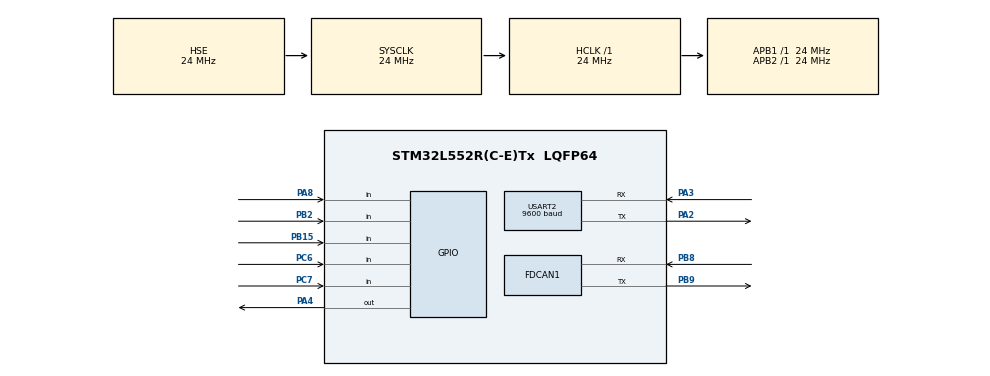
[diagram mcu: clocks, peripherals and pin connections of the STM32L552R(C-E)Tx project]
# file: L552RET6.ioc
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FDCAN1.CalculateBaudRateNominal=1066666
FDCAN1.CalculateTimeBitNominal=937
FDCAN1.CalculateTimeQuantumNominal=62.5
FDCAN1.Mode=FDCAN_MODE_NORMAL
FDCAN1.NominalPrescaler=3
FDCAN1.NominalTimeSeg1=12
FDCAN1.NominalTimeSeg2=2
FDCAN1.StdFiltersNbr=10
Mcu.Family=STM32L5
Mcu.Name=STM32L552R(C-E)Tx
Mcu.Package=LQFP64
NVIC.FDCAN1_IT0_IRQn=true\:0\:0\:false\:true\:true\:1\:true\:true\:true
NVIC.FDCAN1_IT1_IRQn=true\:0\:0\:false\:true\:true\:2\:true\:true\:true
NVIC.PriorityGroup=NVIC_PRIORITYGROUP_3
PA13\ (JTMS/SWDIO).Mode=Serial_Wire
PA13\ (JTMS/SWDIO).Signal=DEBUG_JTMS-SWDIO
PA14\ (JTCK/SWCLK).Mode=Serial_Wire
PA14\ (JTCK/SWCLK).Signal=DEBUG_JTCK-SWCLK
PA2.GPIO_Speed=GPIO_SPEED_FREQ_VERY_HIGH
PA2.Mode=Asynchronous
PA2.Signal=USART2_TX
PA3.GPIO_Speed=GPIO_SPEED_FREQ_VERY_HIGH
PA3.Mode=Asynchronous
PA3.Signal=USART2_RX
PA4.Signal=GPIO_Output
PA8.Signal=GPIO_Input
PB15.Signal=GPIO_Input
PB2.Signal=GPIO_Input
PB8.GPIO_FM8=SYSCFG_FASTMODEPLUS_PB8
PB8.GPIO_Speed=GPIO_SPEED_FREQ_VERY_HIGH
PB8.Mode=FDCAN_Activate
PB8.Signal=FDCAN1_RX
PB9.GPIO_FM9=SYSCFG_FASTMODEPLUS_PB9
PB9.GPIO_Speed=GPIO_SPEED_FREQ_VERY_HIGH
PB9.Mode=FDCAN_Activate
PB9.Signal=FDCAN1_TX
PC14-OSC32_IN\ (PC14).Mode=LSE-External-Oscillator
PC14-OSC32_IN\ (PC14).Signal=RCC_OSC32_IN
PC15-OSC32_OUT\ (PC15).Mode=LSE-External-Oscillator
PC15-OSC32_OUT\ (PC15).Signal=RCC_OSC32_OUT
PC6.Signal=GPIO_Input
PC7.Signal=GPIO_Input
PH0-OSC_IN\ (PH0).Mode=HSE-External-Oscillator
PH0-OSC_IN\ (PH0).Signal=RCC_OSC_IN
PH1-OSC_OUT\ (PH1).Mode=HSE-External-Oscillator
PH1-OSC_OUT\ (PH1).Signal=RCC_OSC_OUT
ProjectManager.HeapSize=0x200
ProjectManager.StackSize=0x400
ProjectManager.TargetToolchain=STM32CubeIDE
RCC.ADCFreq_Value=168000000
RCC.AHBFreq_Value=24000000
RCC.APB1Freq_Value=24000000
RCC.APB1TimFreq_Value=24000000
RCC.APB2Freq_Value=24000000
RCC.APB2TimFreq_Value=24000000
RCC.CortexFreq_Value=24000000
RCC.HCLKFreq_Value=24000000
RCC.HSE_VALUE=24000000
RCC.HSI48_VALUE=48000000
RCC.HSI_VALUE=16000000
RCC.MSI_VALUE=4000000
RCC.PLLM=2
RCC.PLLSAI1N=14
RCC.PLLSAI1Source=RCC_PLLSAI1SOURCE_HSE
RCC.PLLSAI2Source=RCC_PLLSAI2SOURCE_HSE
RCC.PLLSourceVirtual=RCC_PLLSOURCE_HSE
RCC.SYSCLKFreq_VALUE=24000000
RCC.SYSCLKSource=RCC_SYSCLKSOURCE_HSE
RCC.USBFreq_Value=168000000
RCC.VCOOutputFreq_Value=96000000
USART2.BaudRate=9600
USART2.OverSampling=UART_OVERSAMPLING_8
USART2.VirtualMode-Asynchronous=VM_ASYNC
VP_ICACHE_VS_ICACHE.Mode=DirectMappedCache
VP_PWR_VS_DBSignals.Mode=DisableDeadBatterySignals
VP_PWR_VS_SECSignals.Mode=Security/Privilege
board=custom

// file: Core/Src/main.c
/* USER CODE BEGIN Header */
/**
  ******************************************************************************
  * @file           : main.c
  * @brief          : Main program body
  ******************************************************************************
  * @attention
  *
  * Copyright (c) 2025 STMicroelectronics.
  * All rights reserved.
  *
  * This software is licensed under terms that can be found in the LICENSE file
  * in the root directory of this software component.
  * If no LICENSE file comes with this software, it is provided AS-IS.
  *
  ******************************************************************************
  */
/* USER CODE END Header */
#include "main.h"

FDCAN_HandleTypeDef hfdcan1;

UART_HandleTypeDef huart2;

void SystemClock_Config(void);
static void MX_GPIO_Init(void);
static void MX_FDCAN1_Init(void);
static void MX_USART2_UART_Init(void);
static void MX_ICACHE_Init(void);
static void MX_NVIC_Init(void);

/* USER CODE BEGIN 0 */
FDCAN_TxHeaderTypeDef TxHeader;
uint8_t TxData[8] = {0x11, 0x22, 0x33, 0x44, 0x55, 0x66, 0x77, 0x88};
FDCAN_RxHeaderTypeDef RxHeader;
uint8_t RxData[8];
uint8_t Inc = 0;

/* USER CODE END 0 */

int main(void)
{

  /* MCU Configuration--------------------------------------------------------*/

  /* Reset of all peripherals, Initializes the Flash interface and the Systick. */
  HAL_Init();

  /* Configure the system clock */
  SystemClock_Config();

  /* Initialize all configured peripherals */
  MX_GPIO_Init();
  MX_FDCAN1_Init();
  MX_USART2_UART_Init();
  MX_ICACHE_Init();

  /* Initialize interrupts */
  MX_NVIC_Init();
  /* USER CODE BEGIN 2 */
  HAL_UART_Transmit(&huart2, (const uint8_t *)"GABI \n\r", 7, 100);
  HAL_Delay(100);

  if (HAL_FDCAN_Start(&hfdcan1) != HAL_OK)
  {
      Error_Handler();
  }

  TxHeader.Identifier = 0x123;
  TxHeader.IdType = FDCAN_STANDARD_ID;
  TxHeader.TxFrameType = FDCAN_DATA_FRAME;
  TxHeader.DataLength = FDCAN_DLC_BYTES_8;
  TxHeader.ErrorStateIndicator = FDCAN_ESI_ACTIVE;
  TxHeader.BitRateSwitch = FDCAN_BRS_OFF;
  TxHeader.FDFormat = FDCAN_CLASSIC_CAN;
  TxHeader.TxEventFifoControl = FDCAN_NO_TX_EVENTS;
  TxHeader.MessageMarker = 0;

  HAL_FDCAN_ActivateNotification(&hfdcan1, FDCAN_IT_RX_FIFO0_NEW_MESSAGE, 0);

  /* USER CODE END 2 */

  /* Infinite loop */
  while (1)
  {

    /* USER CODE BEGIN 3 */

	  if (HAL_FDCAN_AddMessageToTxFifoQ(&hfdcan1, &TxHeader, TxData) != HAL_OK)
	  {
	      Error_Handler();
	  }
	  TxData[0] = Inc/100 ;
	  TxData[1] = Inc%10 ;
	  Inc+=1;
	  HAL_Delay(100);

  }
  /* USER CODE END 3 */
}

void SystemClock_Config(void)
{
  RCC_OscInitTypeDef RCC_OscInitStruct = {0};
  RCC_ClkInitTypeDef RCC_ClkInitStruct = {0};

  /** Configure the main internal regulator output voltage
  */
  if (HAL_PWREx_ControlVoltageScaling(PWR_REGULATOR_VOLTAGE_SCALE2) != HAL_OK)
  {
    Error_Handler();
  }

  /** Initializes the RCC Oscillators according to the specified parameters
  * in the RCC_OscInitTypeDef structure.
  */
  RCC_OscInitStruct.OscillatorType = RCC_OSCILLATORTYPE_HSE;
  RCC_OscInitStruct.HSEState = RCC_HSE_ON;
  RCC_OscInitStruct.PLL.PLLState = RCC_PLL_ON;
  RCC_OscInitStruct.PLL.PLLSource = RCC_PLLSOURCE_HSE;
  RCC_OscInitStruct.PLL.PLLM = 2;
  RCC_OscInitStruct.PLL.PLLN = 8;
  RCC_OscInitStruct.PLL.PLLP = RCC_PLLP_DIV7;
  RCC_OscInitStruct.PLL.PLLQ = RCC_PLLQ_DIV2;
  RCC_OscInitStruct.PLL.PLLR = RCC_PLLR_DIV2;
  if (HAL_RCC_OscConfig(&RCC_OscInitStruct) != HAL_OK)
  {
    Error_Handler();
  }

  /** Initializes the CPU, AHB and APB buses clocks
  */
  RCC_ClkInitStruct.ClockType = RCC_CLOCKTYPE_HCLK|RCC_CLOCKTYPE_SYSCLK
                              |RCC_CLOCKTYPE_PCLK1|RCC_CLOCKTYPE_PCLK2;
  RCC_ClkInitStruct.SYSCLKSource = RCC_SYSCLKSOURCE_HSE;
  RCC_ClkInitStruct.AHBCLKDivider = RCC_SYSCLK_DIV1;
  RCC_ClkInitStruct.APB1CLKDivider = RCC_HCLK_DIV1;
  RCC_ClkInitStruct.APB2CLKDivider = RCC_HCLK_DIV1;

  if (HAL_RCC_ClockConfig(&RCC_ClkInitStruct, FLASH_LATENCY_2) != HAL_OK)
  {
    Error_Handler();
  }
}

/**
  * @brief NVIC Configuration.
  * @retval None
  */
static void MX_NVIC_Init(void)
{
  /* FDCAN1_IT0_IRQn interrupt configuration */
  HAL_NVIC_SetPriority(FDCAN1_IT0_IRQn, 0, 0);
  HAL_NVIC_EnableIRQ(FDCAN1_IT0_IRQn);
  /* FDCAN1_IT1_IRQn interrupt configuration */
  HAL_NVIC_SetPriority(FDCAN1_IT1_IRQn, 0, 0);
  HAL_NVIC_EnableIRQ(FDCAN1_IT1_IRQn);
}

static void MX_FDCAN1_Init(void)
{

  hfdcan1.Instance = FDCAN1;
  hfdcan1.Init.ClockDivider = FDCAN_CLOCK_DIV1;
  hfdcan1.Init.FrameFormat = FDCAN_FRAME_CLASSIC;
  hfdcan1.Init.Mode = FDCAN_MODE_NORMAL;
  hfdcan1.Init.AutoRetransmission = DISABLE;
  hfdcan1.Init.TransmitPause = DISABLE;
  hfdcan1.Init.ProtocolException = DISABLE;
  hfdcan1.Init.NominalPrescaler = 3;
  hfdcan1.Init.NominalSyncJumpWidth = 1;
  hfdcan1.Init.NominalTimeSeg1 = 12;
  hfdcan1.Init.NominalTimeSeg2 = 2;
  hfdcan1.Init.DataPrescaler = 1;
  hfdcan1.Init.DataSyncJumpWidth = 1;
  hfdcan1.Init.DataTimeSeg1 = 1;
  hfdcan1.Init.DataTimeSeg2 = 1;
  hfdcan1.Init.StdFiltersNbr = 10;
  hfdcan1.Init.ExtFiltersNbr = 0;
  hfdcan1.Init.TxFifoQueueMode = FDCAN_TX_FIFO_OPERATION;
  if (HAL_FDCAN_Init(&hfdcan1) != HAL_OK)
  {
    Error_Handler();
  }
  /* USER CODE BEGIN FDCAN1_Init 2 */
  FDCAN_FilterTypeDef sFilterConfig;
  sFilterConfig.IdType = FDCAN_STANDARD_ID;
  sFilterConfig.FilterIndex = 0;
  sFilterConfig.FilterType = FDCAN_FILTER_MASK;
  sFilterConfig.FilterConfig = FDCAN_FILTER_TO_RXFIFO0;
  sFilterConfig.FilterID1 = 0x00000000;
  sFilterConfig.FilterID2 = 0x00000000; // Accept all
  HAL_FDCAN_ConfigFilter(&hfdcan1, &sFilterConfig);

  /* USER CODE END FDCAN1_Init 2 */

}

static void MX_ICACHE_Init(void)
{

  /** Enable instruction cache in 1-way (direct mapped cache)
  */
  if (HAL_ICACHE_ConfigAssociativityMode(ICACHE_1WAY) != HAL_OK)
  {
    Error_Handler();
  }
  if (HAL_ICACHE_Enable() != HAL_OK)
  {
    Error_Handler();
  }

}

static void MX_USART2_UART_Init(void)
{

  huart2.Instance = USART2;
  huart2.Init.BaudRate = 9600;
  huart2.Init.WordLength = UART_WORDLENGTH_8B;
  huart2.Init.StopBits = UART_STOPBITS_1;
  huart2.Init.Parity = UART_PARITY_NONE;
  huart2.Init.Mode = UART_MODE_TX_RX;
  huart2.Init.HwFlowCtl = UART_HWCONTROL_NONE;
  huart2.Init.OverSampling = UART_OVERSAMPLING_8;
  huart2.Init.OneBitSampling = UART_ONE_BIT_SAMPLE_DISABLE;
  huart2.Init.ClockPrescaler = UART_PRESCALER_DIV1;
  huart2.AdvancedInit.AdvFeatureInit = UART_ADVFEATURE_NO_INIT;
  if (HAL_UART_Init(&huart2) != HAL_OK)
  {
    Error_Handler();
  }
  if (HAL_UARTEx_SetTxFifoThreshold(&huart2, UART_TXFIFO_THRESHOLD_1_8) != HAL_OK)
  {
    Error_Handler();
  }
  if (HAL_UARTEx_SetRxFifoThreshold(&huart2, UART_RXFIFO_THRESHOLD_1_8) != HAL_OK)
  {
    Error_Handler();
  }
  if (HAL_UARTEx_DisableFifoMode(&huart2) != HAL_OK)
  {
    Error_Handler();
  }

}

static void MX_GPIO_Init(void)
{
  GPIO_InitTypeDef GPIO_InitStruct = {0};

  /* GPIO Ports Clock Enable */
  __HAL_RCC_GPIOC_CLK_ENABLE();
  __HAL_RCC_GPIOH_CLK_ENABLE();
  __HAL_RCC_GPIOA_CLK_ENABLE();
  __HAL_RCC_GPIOB_CLK_ENABLE();

  /*Configure GPIO pin Output Level */
  HAL_GPIO_WritePin(GPIOA, GPIO_PIN_4, GPIO_PIN_RESET);

  /*Configure GPIO pin : PA4 */
  GPIO_InitStruct.Pin = GPIO_PIN_4;
  GPIO_InitStruct.Mode = GPIO_MODE_OUTPUT_PP;
  GPIO_InitStruct.Pull = GPIO_NOPULL;
  GPIO_InitStruct.Speed = GPIO_SPEED_FREQ_LOW;
  HAL_GPIO_Init(GPIOA, &GPIO_InitStruct);

  /*Configure GPIO pins : PB2 PB15 */
  GPIO_InitStruct.Pin = GPIO_PIN_2|GPIO_PIN_15;
  GPIO_InitStruct.Mode = GPIO_MODE_INPUT;
  GPIO_InitStruct.Pull = GPIO_NOPULL;
  HAL_GPIO_Init(GPIOB, &GPIO_InitStruct);

  /*Configure GPIO pins : PC6 PC7 */
  GPIO_InitStruct.Pin = GPIO_PIN_6|GPIO_PIN_7;
  GPIO_InitStruct.Mode = GPIO_MODE_INPUT;
  GPIO_InitStruct.Pull = GPIO_NOPULL;
  HAL_GPIO_Init(GPIOC, &GPIO_InitStruct);

  /*Configure GPIO pin : PA8 */
  GPIO_InitStruct.Pin = GPIO_PIN_8;
  GPIO_InitStruct.Mode = GPIO_MODE_INPUT;
  GPIO_InitStruct.Pull = GPIO_NOPULL;
  HAL_GPIO_Init(GPIOA, &GPIO_InitStruct);

}

/* USER CODE BEGIN 4 */
void HAL_FDCAN_RxFifo0Callback(FDCAN_HandleTypeDef *hfdcan, uint32_t RxFifo0ITs) {
    if ((RxFifo0ITs & FDCAN_IT_RX_FIFO0_NEW_MESSAGE) != 0) {

        HAL_FDCAN_GetRxMessage(hfdcan, FDCAN_RX_FIFO0, &RxHeader, RxData);
        // Process RxData here
    }
}

/* USER CODE END 4 */

void Error_Handler(void)
{
  __disable_irq();
  while (1)
  {
  }
}
